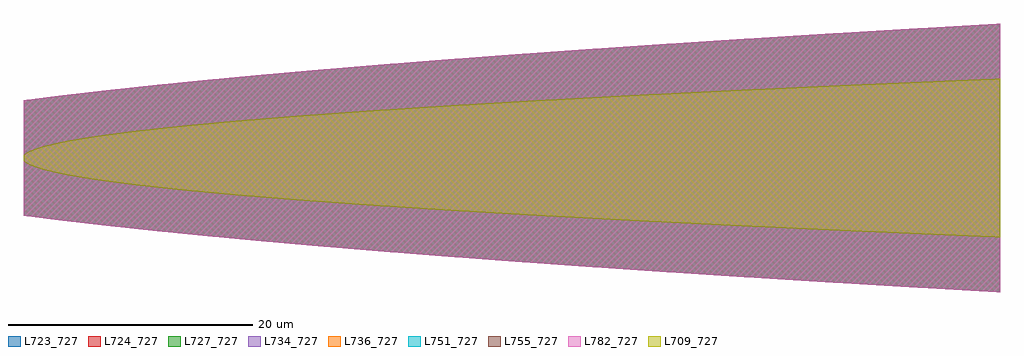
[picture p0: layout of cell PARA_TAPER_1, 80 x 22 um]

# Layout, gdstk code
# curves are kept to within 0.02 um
import gdstk
lib = gdstk.Library(unit=1e-6, precision=1e-09)
def P(c, l, *ps):  # polygons
    for p in ps: c.add(gdstk.Polygon(p, *l))
L709_727 = (709, 727)
L723_727 = (723, 727)
L724_727 = (724, 727)
L727_727 = (727, 727)
L734_727 = (734, 727)
L736_727 = (736, 727)
L751_727 = (751, 727)
L755_727 = (755, 727)
L782_727 = (782, 727)

para_taper_1 = lib.new_cell('PARA_TAPER_1')
P(para_taper_1, L709_727, [(-80,0.225),(-79.754,0.425),(-79.332,0.635),(-78.806,0.825),(-78.143,1.015),(-76.354,1.405),(-73.92,1.805),(-70.879,2.205),(-67.33,2.595),(-63.43,2.965),(-58.63,3.365),(-53.366,3.755),(-47.21,4.165),(-33.739,4.945),(-18.395,5.705),(0,6.5),(0,-6.5),(-19.686,-5.645),(-36.327,-4.805),(-50.142,-3.975),(-56.272,-3.545),(-61.583,-3.125),(-66.225,-2.705),(-70.198,-2.285),(-73.573,-1.855),(-76.138,-1.445),(-78.026,-1.045),(-78.806,-0.825),(-79.379,-0.615),(-79.754,-0.425),(-80,-0.225)])
P(para_taper_1, L723_727, [(-80,4.725),(-73.531,5.505),(-66.177,6.275),(-57.633,7.065),(-48.204,7.845),(-38.068,8.605),(-26.387,9.405),(-13.668,10.205),(0,11),(0,-11),(-13.668,-10.205),(-26.387,-9.405),(-38.068,-8.605),(-48.204,-7.845),(-57.633,-7.065),(-66.177,-6.275),(-73.531,-5.505),(-80,-4.725)])
P(para_taper_1, L724_727, [(-80,4.725),(-73.531,5.505),(-66.177,6.275),(-57.633,7.065),(-48.204,7.845),(-38.068,8.605),(-26.387,9.405),(-13.668,10.205),(0,11),(0,-11),(-13.668,-10.205),(-26.387,-9.405),(-38.068,-8.605),(-48.204,-7.845),(-57.633,-7.065),(-66.177,-6.275),(-73.531,-5.505),(-80,-4.725)])
P(para_taper_1, L727_727, [(-80,4.725),(-73.531,5.505),(-66.177,6.275),(-57.633,7.065),(-48.204,7.845),(-38.068,8.605),(-26.387,9.405),(-13.668,10.205),(0,11),(0,-11),(-13.668,-10.205),(-26.387,-9.405),(-38.068,-8.605),(-48.204,-7.845),(-57.633,-7.065),(-66.177,-6.275),(-73.531,-5.505),(-80,-4.725)])
P(para_taper_1, L734_727, [(-80,4.725),(-73.531,5.505),(-66.177,6.275),(-57.633,7.065),(-48.204,7.845),(-38.068,8.605),(-26.387,9.405),(-13.668,10.205),(0,11),(0,-11),(-13.668,-10.205),(-26.387,-9.405),(-38.068,-8.605),(-48.204,-7.845),(-57.633,-7.065),(-66.177,-6.275),(-73.531,-5.505),(-80,-4.725)])
P(para_taper_1, L736_727, [(-80,4.725),(-73.531,5.505),(-66.177,6.275),(-57.633,7.065),(-48.204,7.845),(-38.068,8.605),(-26.387,9.405),(-13.668,10.205),(0,11),(0,-11),(-13.668,-10.205),(-26.387,-9.405),(-38.068,-8.605),(-48.204,-7.845),(-57.633,-7.065),(-66.177,-6.275),(-73.531,-5.505),(-80,-4.725)])
P(para_taper_1, L751_727, [(-80,4.725),(-73.531,5.505),(-66.177,6.275),(-57.633,7.065),(-48.204,7.845),(-38.068,8.605),(-26.387,9.405),(-13.668,10.205),(0,11),(0,-11),(-13.668,-10.205),(-26.387,-9.405),(-38.068,-8.605),(-48.204,-7.845),(-57.633,-7.065),(-66.177,-6.275),(-73.531,-5.505),(-80,-4.725)])
P(para_taper_1, L755_727, [(-80,4.725),(-73.531,5.505),(-66.177,6.275),(-57.633,7.065),(-48.204,7.845),(-38.068,8.605),(-26.387,9.405),(-13.668,10.205),(0,11),(0,-11),(-13.668,-10.205),(-26.387,-9.405),(-38.068,-8.605),(-48.204,-7.845),(-57.633,-7.065),(-66.177,-6.275),(-73.531,-5.505),(-80,-4.725)])
P(para_taper_1, L782_727, [(-80,4.725),(-73.531,5.505),(-66.177,6.275),(-57.633,7.065),(-48.204,7.845),(-38.068,8.605),(-26.387,9.405),(-13.668,10.205),(0,11),(0,-11),(-13.668,-10.205),(-26.387,-9.405),(-38.068,-8.605),(-48.204,-7.845),(-57.633,-7.065),(-66.177,-6.275),(-73.531,-5.505),(-80,-4.725)])

lib.write_gds('PARA_TAPER_1.gds')
